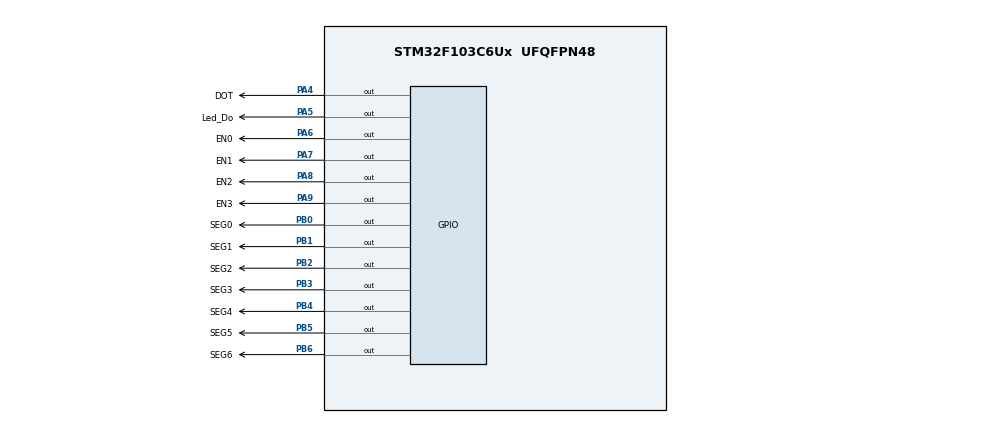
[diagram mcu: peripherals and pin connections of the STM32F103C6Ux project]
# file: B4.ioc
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Mcu.Family=STM32F1
Mcu.Name=STM32F103C6Ux
Mcu.Package=UFQFPN48
NVIC.PriorityGroup=NVIC_PRIORITYGROUP_4
NVIC.TIM2_IRQn=true\:0\:0\:false\:false\:true\:true\:true
PA4.GPIO_Label=DOT
PA4.Signal=GPIO_Output
PA5.GPIO_Label=Led_Do
PA5.Signal=GPIO_Output
PA6.GPIO_Label=EN0
PA6.Signal=GPIO_Output
PA7.GPIO_Label=EN1
PA7.Signal=GPIO_Output
PA8.GPIO_Label=EN2
PA8.Signal=GPIO_Output
PA9.GPIO_Label=EN3
PA9.Signal=GPIO_Output
PB0.GPIO_Label=SEG0
PB0.Signal=GPIO_Output
PB1.GPIO_Label=SEG1
PB1.Signal=GPIO_Output
PB2.GPIO_Label=SEG2
PB2.Signal=GPIO_Output
PB3.GPIO_Label=SEG3
PB3.Signal=GPIO_Output
PB4.GPIO_Label=SEG4
PB4.Signal=GPIO_Output
PB5.GPIO_Label=SEG5
PB5.Signal=GPIO_Output
PB6.GPIO_Label=SEG6
PB6.Signal=GPIO_Output
ProjectManager.HeapSize=0x200
ProjectManager.StackSize=0x400
ProjectManager.TargetToolchain=STM32CubeIDE
RCC.APB1Freq_Value=8000000
RCC.APB2Freq_Value=8000000
TIM2.Period=9
TIM2.Prescaler=7999
VP_SYS_VS_ND.Mode=No_Debug
VP_TIM2_VS_ClockSourceINT.Mode=Internal
board=custom

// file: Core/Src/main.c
/* USER CODE BEGIN Header */
/**
  ******************************************************************************
  * @file           : main.c
  * @brief          : Main program body
  ******************************************************************************
  * @attention
  *
  * <h2><center>&copy; Copyright (c) 2025 STMicroelectronics.
  * All rights reserved.</center></h2>
  *
  * This software component is licensed by ST under BSD 3-Clause license,
  * the "License"; You may not use this file except in compliance with the
  * License. You may obtain a copy of the License at:
  *                        opensource.org/licenses/BSD-3-Clause
  *
  ******************************************************************************
  */
/* USER CODE END Header */
#include "main.h"

TIM_HandleTypeDef htim2;

/* USER CODE BEGIN PV */
const int MAX_LED = 4;
int index_led = 0;
int led_buffer[4] = {9, 8, 8, 9};

const uint8_t seven_seg_patterns[10] = {
    0x3F,  // 0: a b c d e f
    0x06,  // 1: b c
    0x5B,  // 2: a b d e g
    0x4F,  // 3: a b c d g
    0x66,  // 4: b c f g
    0x6D,  // 5: a c d f g
    0x7D,  // 6: a c d e f g
    0x07,  // 7: a b c
    0x7F,  // 8: a b c d e f g
    0x6F   // 9: a b c d f g
};

const uint16_t seg_pins[7] = {
    SEG0_Pin, SEG1_Pin, SEG2_Pin, SEG3_Pin, SEG4_Pin, SEG5_Pin, SEG6_Pin
};

/* USER CODE END PV */

void SystemClock_Config(void);
static void MX_GPIO_Init(void);
static void MX_TIM2_Init(void);
/* USER CODE BEGIN PFP */
void update7SEG(int index);
/* USER CODE END PFP */

int main(void)
{

  /* MCU Configuration--------------------------------------------------------*/

  /* Reset of all peripherals, Initializes the Flash interface and the Systick. */
  HAL_Init();

  /* Configure the system clock */
  SystemClock_Config();

  /* Initialize all configured peripherals */
  MX_GPIO_Init();
  MX_TIM2_Init();
  /* USER CODE BEGIN 2 */
  update7SEG(index_led); // Hiển thị LED 7 đoạn ngay lập tức
  HAL_TIM_Base_Start_IT(&htim2);
  /* USER CODE END 2 */

  /* Infinite loop */
  while (1)
  {

  }
}

void SystemClock_Config(void)
{
  RCC_OscInitTypeDef RCC_OscInitStruct = {0};
  RCC_ClkInitTypeDef RCC_ClkInitStruct = {0};

  /** Initializes the RCC Oscillators according to the specified parameters
  * in the RCC_OscInitTypeDef structure.
  */
  RCC_OscInitStruct.OscillatorType = RCC_OSCILLATORTYPE_HSI;
  RCC_OscInitStruct.HSIState = RCC_HSI_ON;
  RCC_OscInitStruct.HSICalibrationValue = RCC_HSICALIBRATION_DEFAULT;
  RCC_OscInitStruct.PLL.PLLState = RCC_PLL_NONE;
  if (HAL_RCC_OscConfig(&RCC_OscInitStruct) != HAL_OK)
  {
    Error_Handler();
  }
  /** Initializes the CPU, AHB and APB buses clocks
  */
  RCC_ClkInitStruct.ClockType = RCC_CLOCKTYPE_HCLK|RCC_CLOCKTYPE_SYSCLK
                              |RCC_CLOCKTYPE_PCLK1|RCC_CLOCKTYPE_PCLK2;
  RCC_ClkInitStruct.SYSCLKSource = RCC_SYSCLKSOURCE_HSI;
  RCC_ClkInitStruct.AHBCLKDivider = RCC_SYSCLK_DIV1;
  RCC_ClkInitStruct.APB1CLKDivider = RCC_HCLK_DIV1;
  RCC_ClkInitStruct.APB2CLKDivider = RCC_HCLK_DIV1;

  if (HAL_RCC_ClockConfig(&RCC_ClkInitStruct, FLASH_LATENCY_0) != HAL_OK)
  {
    Error_Handler();
  }
}

static void MX_TIM2_Init(void)
{

  TIM_ClockConfigTypeDef sClockSourceConfig = {0};
  TIM_MasterConfigTypeDef sMasterConfig = {0};

  htim2.Instance = TIM2;
  htim2.Init.Prescaler = 7999; // 8 MHz / (7999 + 1) = 1 kHz
  htim2.Init.CounterMode = TIM_COUNTERMODE_UP;
  htim2.Init.Period = 9; // 1 kHz / (9 + 1) = 100 Hz (0.01 seconds per interrupt)
  htim2.Init.ClockDivision = TIM_CLOCKDIVISION_DIV1;
  htim2.Init.AutoReloadPreload = TIM_AUTORELOAD_PRELOAD_DISABLE;
  if (HAL_TIM_Base_Init(&htim2) != HAL_OK)
  {
    Error_Handler();
  }
  sClockSourceConfig.ClockSource = TIM_CLOCKSOURCE_INTERNAL;
  if (HAL_TIM_ConfigClockSource(&htim2, &sClockSourceConfig) != HAL_OK)
  {
    Error_Handler();
  }
  sMasterConfig.MasterOutputTrigger = TIM_TRGO_RESET;
  sMasterConfig.MasterSlaveMode = TIM_MASTERSLAVEMODE_DISABLE;
  if (HAL_TIMEx_MasterConfigSynchronization(&htim2, &sMasterConfig) != HAL_OK)
  {
    Error_Handler();
  }
}

static void MX_GPIO_Init(void)
{
  GPIO_InitTypeDef GPIO_InitStruct = {0};

  /* GPIO Ports Clock Enable */
  __HAL_RCC_GPIOA_CLK_ENABLE();
  __HAL_RCC_GPIOB_CLK_ENABLE();

  /*Configure GPIO pin Output Level */
  HAL_GPIO_WritePin(GPIOA, DOT_Pin|Led_Do_Pin|EN0_Pin|EN1_Pin
                          |EN2_Pin|EN3_Pin, GPIO_PIN_RESET);

  /*Configure GPIO pin Output Level */
  HAL_GPIO_WritePin(GPIOB, SEG0_Pin|SEG1_Pin|SEG2_Pin|SEG3_Pin
                          |SEG4_Pin|SEG5_Pin|SEG6_Pin, GPIO_PIN_RESET);

  /*Configure GPIO pins : DOT_Pin Led_Do_Pin EN0_Pin EN1_Pin
                           EN2_Pin EN3_Pin */
  GPIO_InitStruct.Pin = DOT_Pin|Led_Do_Pin|EN0_Pin|EN1_Pin
                          |EN2_Pin|EN3_Pin;
  GPIO_InitStruct.Mode = GPIO_MODE_OUTPUT_PP;
  GPIO_InitStruct.Pull = GPIO_NOPULL;
  GPIO_InitStruct.Speed = GPIO_SPEED_FREQ_LOW;
  HAL_GPIO_Init(GPIOA, &GPIO_InitStruct);

  /*Configure GPIO pins : SEG0_Pin SEG1_Pin SEG2_Pin SEG3_Pin
                           SEG4_Pin SEG5_Pin SEG6_Pin */
  GPIO_InitStruct.Pin = SEG0_Pin|SEG1_Pin|SEG2_Pin|SEG3_Pin
                          |SEG4_Pin|SEG5_Pin|SEG6_Pin;
  GPIO_InitStruct.Mode = GPIO_MODE_OUTPUT_PP;
  GPIO_InitStruct.Pull = GPIO_NOPULL;
  GPIO_InitStruct.Speed = GPIO_SPEED_FREQ_LOW;
  HAL_GPIO_Init(GPIOB, &GPIO_InitStruct);
}

/* USER CODE BEGIN 4 */
void update7SEG(int index) {
    // Tắt tất cả các enable pin (set high để tắt transistor PNP)
    HAL_GPIO_WritePin(GPIOA, EN0_Pin | EN1_Pin | EN2_Pin | EN3_Pin, GPIO_PIN_SET);

    // Lấy chữ số từ buffer
    int digit = led_buffer[index];
    if (digit < 0 || digit > 9) digit = 0;  // Giá trị mặc định nếu không hợp lệ

    // Set các segment pins dựa trên pattern
    uint8_t pattern = seven_seg_patterns[digit];
    for (int i = 0; i < 7; i++) {
        GPIO_PinState state = (pattern & (1 << i)) ? GPIO_PIN_RESET : GPIO_PIN_SET;
        HAL_GPIO_WritePin(GPIOB, seg_pins[i], state);
    }

    // Bật enable pin tương ứng (set low để bật)
    switch (index) {
        case 0:
            HAL_GPIO_WritePin(GPIOA, EN0_Pin, GPIO_PIN_RESET);
            break;
        case 1:
            HAL_GPIO_WritePin(GPIOA, EN1_Pin, GPIO_PIN_RESET);
            break;
        case 2:
            HAL_GPIO_WritePin(GPIOA, EN2_Pin, GPIO_PIN_RESET);
            break;
        case 3:
            HAL_GPIO_WritePin(GPIOA, EN3_Pin, GPIO_PIN_RESET);
            break;
        default:
            break;
    }
}

void HAL_TIM_PeriodElapsedCallback(TIM_HandleTypeDef *htim) {
    static int counter = 0;
    if (htim == &htim2) {
        // Cập nhật 7-segment mỗi 50 ngắt (0.5 giây, 2 Hz cho 4 LED)
        if (counter % 25 == 0) {
            update7SEG(index_led);
            index_led = (index_led + 1) % MAX_LED;
        }
        // Cập nhật LED_RED và DOT pin mỗi 100 ngắt (1 giây, 1 Hz)
        if (counter % 100 == 0) {
            HAL_GPIO_TogglePin(GPIOA, Led_Do_Pin | DOT_Pin);
        }
        counter++;
    }
}
/* USER CODE END 4 */

void Error_Handler(void)
{
  __disable_irq();
  while (1)
  {
  }
}

/************************ (C) COPYRIGHT STMicroelectronics *****END OF FILE****/
